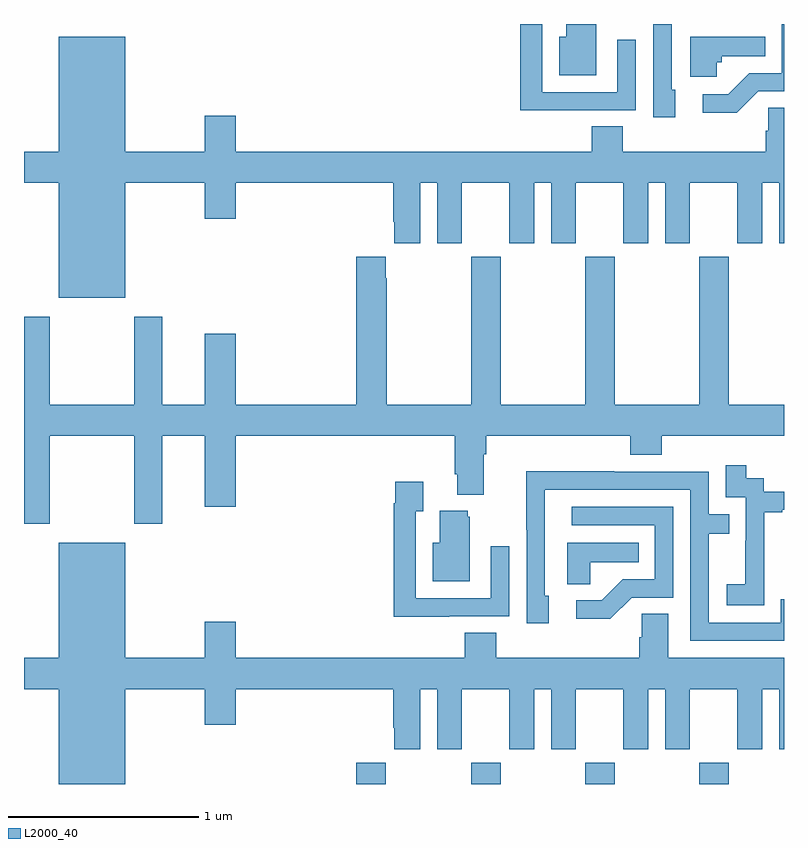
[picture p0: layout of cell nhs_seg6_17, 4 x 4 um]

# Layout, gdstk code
import gdstk
lib = gdstk.Library(unit=1e-6, precision=1e-09)
def R(c, l, rs):  # rectangles x0, y0, x1, y1
    for r in rs: c.add(gdstk.rectangle(r[:2], r[2:], *l))
def A(c, l, x, y, w, h, nx, ny, dx, dy):  # array of equal rectangles
    R(c, l, [(x+i*dx, y+j*dy, x+i*dx+w, y+j*dy+h) for i in range(nx) for j in range(ny)])
def P(c, l, *ps):  # polygons
    for p in ps: c.add(gdstk.Polygon(p, *l))
L2000_40 = (2000, 40)

nhs_seg6_17 = lib.new_cell('nhs_seg6_17')
A(nhs_seg6_17, L2000_40, 113.353, 949.5, 0.155, 0.112, 3, 1, 0.6, 0)
R(nhs_seg6_17, L2000_40, [(112.748,949.5,112.903,949.612)])
P(nhs_seg6_17, L2000_40, [(114.864,953.145),(115,953.145),(115,953.5),(114.987,953.5),(114.987,953.241),(114.818,953.241),(114.707,953.13),(114.573,953.13),(114.573,953.033),(114.751,953.033)],
  [(114.427,953.154),(114.408,953.154),(114.408,953.5),(114.312,953.5),(114.312,953.01),(114.427,953.01)],
  [(113.903,953.046),(114.219,953.046),(114.219,953.416),(114.123,953.416),(114.123,953.142),(113.727,953.142),(113.727,953.5),(113.611,953.5),(113.611,953.045),(113.903,953.045)],
  [(114.013,953.5),(113.855,953.5),(113.855,953.434),(113.816,953.434),(113.816,953.231),(114.013,953.231)],
  [(114.645,953.298),(114.672,953.298),(114.672,953.33),(114.902,953.33),(114.902,953.434),(114.506,953.434),(114.506,953.222),(114.645,953.222)],
  [(111.532,952.664),(111.95,952.664),(111.95,952.476),(112.114,952.476),(112.114,952.664),(112.943,952.664),(112.943,952.459),(112.949,952.459),(112.949,952.347),(113.086,952.347),(113.086,952.664),(113.174,952.664),(113.174,952.347),(113.305,952.347),(113.305,952.664),(113.555,952.664),(113.555,952.347),(113.686,952.347),(113.686,952.664),(113.774,952.664),(113.774,952.347),(113.905,952.347),(113.905,952.664),(114.155,952.664),(114.155,952.347),(114.286,952.347),(114.286,952.664),(114.374,952.664),(114.374,952.347),(114.505,952.347),(114.505,952.664),(114.755,952.664),(114.755,952.347),(114.886,952.347),(114.886,952.664),(114.974,952.664),(114.974,952.347),(115,952.347),(115,953.06),(114.918,953.06),(114.918,952.937),(114.905,952.937),(114.905,952.828),(114.152,952.828),(114.152,952.961),(113.987,952.961),(113.987,952.828),(112.114,952.828),(112.114,953.017),(111.95,953.017),(111.95,952.828),(111.532,952.828),(111.532,953.434),(111.182,953.434),(111.182,952.828),(111,952.828),(111,952.664),(111.182,952.664),(111.182,952.058),(111.532,952.058)],
  [(111.135,951.332),(111.58,951.332),(111.58,950.871),(111.727,950.871),(111.727,951.332),(111.95,951.332),(111.95,950.958),(112.114,950.958),(112.114,951.332),(113.267,951.332),(113.267,951.13),(113.279,951.13),(113.279,951.023),(113.419,951.023),(113.419,951.236),(113.432,951.236),(113.432,951.332),(114.191,951.332),(114.191,951.233),(114.356,951.233),(114.356,951.332),(115,951.332),(115,951.496),(114.708,951.496),(114.708,952.276),(114.553,952.276),(114.553,951.496),(114.108,951.496),(114.108,952.276),(113.953,952.276),(113.953,951.496),(113.508,951.496),(113.508,952.276),(113.353,952.276),(113.353,951.496),(112.908,951.496),(112.908,952.163),(112.903,952.163),(112.903,952.276),(112.748,952.276),(112.748,951.496),(112.114,951.496),(112.114,951.871),(111.95,951.871),(111.95,951.496),(111.727,951.496),(111.727,951.958),(111.58,951.958),(111.58,951.496),(111.135,951.496),(111.135,951.958),(111,951.958),(111,950.871),(111.135,950.871)],
  [(114.897,950.647),(114.896,950.647),(114.896,950.931),(114.991,950.931),(114.991,950.943),(115,950.943),(115,951.039),(114.894,951.039),(114.894,951.108),(114.802,951.108),(114.802,951.178),(114.693,951.178),(114.693,951.009),(114.798,951.009),(114.798,950.78),(114.797,950.78),(114.797,950.551),(114.699,950.551),(114.699,950.441),(114.897,950.441)],
  [(115,950.472),(114.984,950.472),(114.984,950.349),(114.603,950.349),(114.603,950.818),(114.713,950.818),(114.713,950.919),(114.603,950.919),(114.603,951.144),(114.107,951.144),(114.107,951.146),(113.644,951.146),(113.644,950.839),(113.646,950.839),(113.646,950.346),(113.761,950.346),(113.761,950.49),(113.742,950.49),(113.742,951.048),(114.507,951.048),(114.507,950.253),(115,950.253)],
  [(113.237,950.382),(113.553,950.382),(113.553,950.752),(113.457,950.752),(113.457,950.478),(113.061,950.478),(113.061,950.935),(113.101,950.935),(113.101,951.091),(112.953,951.091),(112.953,950.978),(112.945,950.978),(112.945,950.381),(113.237,950.381)],
  [(114.198,950.481),(114.417,950.481),(114.417,950.958),(113.883,950.958),(113.883,950.862),(114.321,950.862),(114.321,950.577),(114.152,950.577),(114.041,950.466),(113.907,950.466),(113.907,950.369),(114.085,950.369)],
  [(113.347,950.907),(113.336,950.907),(113.336,950.938),(113.189,950.938),(113.189,950.77),(113.15,950.77),(113.15,950.567),(113.347,950.567)],
  [(111.532,950),(111.95,950),(111.95,949.812),(112.114,949.812),(112.114,950),(112.943,950),(112.943,949.795),(112.949,949.795),(112.949,949.683),(113.086,949.683),(113.086,950),(113.174,950),(113.174,949.683),(113.305,949.683),(113.305,950),(113.555,950),(113.555,949.683),(113.686,949.683),(113.686,950),(113.774,950),(113.774,949.683),(113.905,949.683),(113.905,950),(114.155,950),(114.155,949.683),(114.286,949.683),(114.286,950),(114.374,950),(114.374,949.683),(114.505,949.683),(114.505,950),(114.755,950),(114.755,949.683),(114.886,949.683),(114.886,950),(114.974,950),(114.974,949.683),(115,949.683),(115,950.164),(114.391,950.164),(114.391,950.396),(114.252,950.396),(114.252,950.273),(114.239,950.273),(114.239,950.164),(113.486,950.164),(113.486,950.297),(113.321,950.297),(113.321,950.164),(112.114,950.164),(112.114,950.353),(111.95,950.353),(111.95,950.164),(111.532,950.164),(111.532,950.77),(111.182,950.77),(111.182,950.164),(111,950.164),(111,950),(111.182,950),(111.182,949.5),(111.532,949.5)],
  [(113.979,950.666),(114.236,950.666),(114.236,950.77),(113.858,950.77),(113.858,950.551),(113.979,950.551)])

lib.write_gds('nhs_seg6_17.gds')
